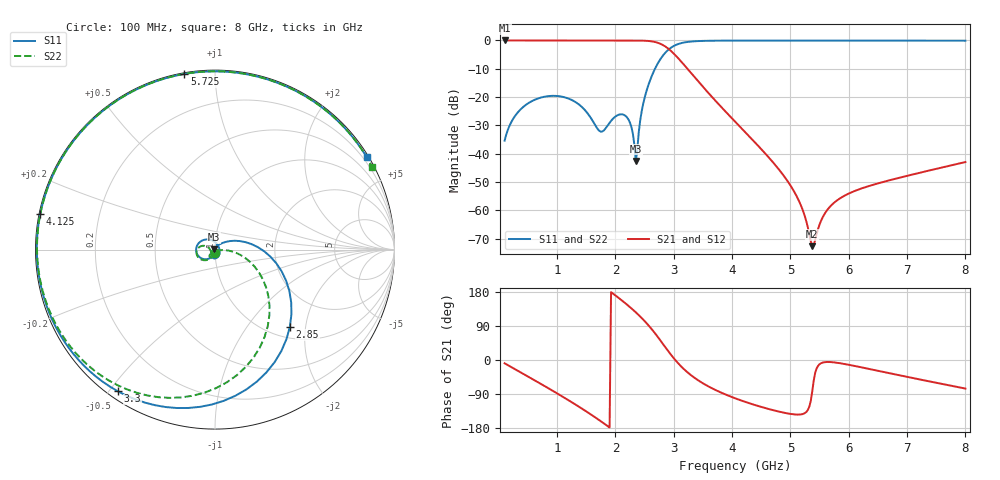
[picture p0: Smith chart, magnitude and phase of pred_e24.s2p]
! Created with skrf 1.13.0 (http://scikit-rf.org).
# Hz S RI R 50.0
!freq ReS11 ImS11 ReS21 ImS21 ReS12 ImS12 ReS22 ImS22
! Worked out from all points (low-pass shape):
!   317 points, 100 MHz to 8 GHz, reference 50 ohm
!   highest |S21| = 0.00 dB at 100 MHz (marker M1); lowest = -72.6 dB at 5.375 GHz (marker M2)
!   |S21| within 3 dB of the highest: start of sweep to 2.912 GHz
!   lowest |S11| = -42.6 dB at 2.35 GHz (marker M3), VSWR 1.02, Z = 49.3 + j0.258 ohm
!   |S11| at or under -10 dB: start of sweep to 2.678 GHz
!   |S22| runs from -40.4 to 0.0 dB; largest |S21 - S12| = 1.1e-11
!   S11 on the Smith chart (normalised r, x): 100 MHz: 0.99, -0.03; 2.85 GHz: 1.22, -1.64; 3.3 GHz: 0.03, -0.53; 4.125 GHz: 0.00, +0.10; 5.725 GHz: 0.01, +0.84; 8 GHz: 0.07, +3.55
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1e8  -0.00249 -0.0169  0.988 -0.1511  0.988 -0.1511  -0.00218 -0.0169
3e8  -0.0228 -0.0442  0.8963 -0.4388  0.8963 -0.4388  -0.0203 -0.0455
6.25e8  -0.0767 -0.0481  0.5774 -0.8098  0.5774 -0.8098  -0.07 -0.0575
1.025e9  -0.103 0.0143  -0.00559 -0.9925  -0.00559 -0.9925  -0.1032 -0.0138
1.425e9  -0.0359 0.0565  -0.6157 -0.7816  -0.6157 -0.7816  -0.0636 0.0214
1.75e9  0.023 0.00855  -0.9456 -0.3136  -0.9456 -0.3136  -0.0237 -0.00695
2.175e9  -0.0144 -0.0441  -0.8536 0.5098  -0.8536 0.5098  -0.0313 -0.0343
2.275e9  -0.0189 -0.0224  -0.7166 0.6895  -0.7166 0.6895  -0.0208 -0.0211
2.35e9  -0.00698 0.00261  -0.5806 0.8074  -0.5806 0.8074  0.00118 -0.00945
2.475e9  0.0614 0.0434  -0.2874 0.9482  -0.2874 0.9482  0.0757 -0.00563
2.75e9  0.3966 -0.174  0.499 0.7387  0.499 0.7387  0.3034 -0.3097
2.85e9  0.417 -0.4304  0.6468 0.4512  0.6468 0.4512  0.25 -0.5453
3.075e9  -0.0178 -0.8631  0.4817 -0.0727  0.4817 -0.0727  -0.2521 -0.8261
3.3e9  -0.5404 -0.7898  0.2001 -0.1713  0.2001 -0.1713  -0.7089 -0.6435
3.625e9  -0.9107 -0.3824  0.0334 -0.1038  0.0334 -0.1038  -0.9673 -0.2012
4.05e9  -0.9857 0.1236  -0.00701 -0.0364  -0.00701 -0.0364  -0.9545 0.2763
4.125e9  -0.9735 0.1993  -0.00804 -0.0297  -0.00804 -0.0297  -0.9322 0.3446
5.025e9  -0.5802 0.8072  -0.002 -0.00152  -0.002 -0.00152  -0.4869 0.8667
5.375e9  -0.3765 0.9197  3.19e-05 -0.000232  3.19e-05 -0.000232  -0.2816 0.9532
5.725e9  -0.1702 0.9789  0.00129 -0.000133  0.00129 -0.000133  -0.0785 0.9905
6.7e9  0.3578 0.9257  0.00279 -0.00195  0.00279 -0.00195  0.4284 0.8952
8e9  0.8443 0.5165  0.0018 -0.00691  0.0018 -0.00691  0.8768 0.4589
